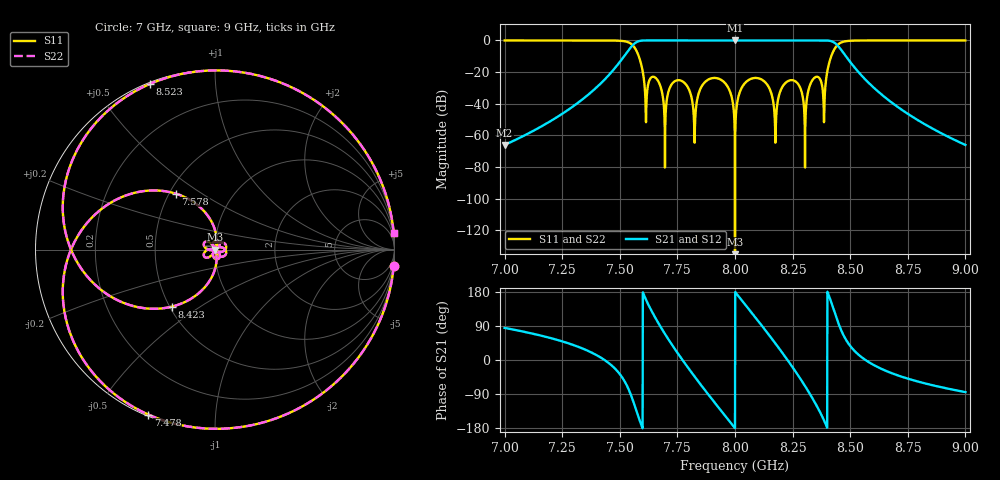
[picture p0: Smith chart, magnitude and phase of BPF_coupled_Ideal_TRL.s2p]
! Created Fri Apr  5 19:09:32 2024
# hz S db R 50
! 2 Port Network Data from SP1.SP block
! freq  dbS11  angS11  dbS21  angS21  dbS12  angS12  dbS22  angS22
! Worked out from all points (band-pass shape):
!   2001 points, 7 GHz to 9 GHz, reference 50 ohm
!   highest |S21| = 0.00 dB at 8 GHz (marker M1); lowest = -66.0 dB at 7 GHz (marker M2)
!   |S21| within 3 dB of the highest: 7.556 GHz to 8.444 GHz (888.1 MHz wide, 11.1 % of centre)
!   lowest |S11| = -189.4 dB at 8 GHz (marker M3), VSWR 1.00, Z = 50 - j3.57e-14 ohm
!   |S11| at or under -10 dB: 7.582 GHz to 8.418 GHz (835.4 MHz wide, 10.4 % of centre)
!   |S22| runs from -189.4 to 0.0 dB; largest |S21 - S12| = 1.2e-13
!   S11 on the Smith chart (normalised r, x): 7 GHz: 0, -22; 7.478 GHz: 0.01, -0.67; 7.578 GHz: 0.54, +0.39; 8.423 GHz: 0.52, -0.39; 8.523 GHz: 0.01, +0.68; 9 GHz: 0, +22
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7e9  -0.00 -5.3  -66.03 84.7  -66.03 84.7  -0.00 -5.3
7.334e9  -0.00 -58.6  -37.66 31.4  -37.66 31.4  -0.00 -58.6
7.478e9  -0.08 -112.1  -17.61 -22.1  -17.61 -22.1  -0.08 -112.1
7.578e9  -8.38 125.1  -0.68 -144.9  -0.68 -144.9  -8.38 125.1
7.614e9  -51.64 -111.2  -0.00 158.8  -0.00 158.8  -51.64 -111.2
7.667e9  -25.83 -172.2  -0.01 97.8  -0.01 97.8  -25.83 -172.2
7.696e9  -80.30 158.8  -0.00 68.8  -0.00 68.8  -80.30 158.8
7.784e9  -27.26 -100.0  -0.01 -10.0  -0.01 -10.0  -27.26 -100.0
7.825e9  -64.60 46.0  -0.00 -44.0  -0.00 -44.0  -64.60 46.0
7.887e9  -24.49 -3.3  -0.02 -93.3  -0.02 -93.3  -24.49 -3.3
7.962e9  -27.86 -61.0  -0.01 -151.0  -0.01 -151.0  -27.86 -61.0
8e9  -189.40 -0.0  -0.00 -180.0  -0.00 -180.0  -189.40 -0.0
8.113e9  -24.49 3.3  -0.02 93.3  -0.02 93.3  -24.49 3.3
8.175e9  -64.60 -46.0  -0.00 44.0  -0.00 44.0  -64.60 -46.0
8.216e9  -27.26 100.0  -0.01 10.0  -0.01 10.0  -27.26 100.0
8.304e9  -80.30 -158.8  -0.00 -68.8  -0.00 -68.8  -80.30 -158.8
8.334e9  -25.57 171.1  -0.01 -98.9  -0.01 -98.9  -25.57 171.1
8.386e9  -51.64 111.2  -0.00 -158.8  -0.00 -158.8  -51.64 111.2
8.423e9  -8.04 -126.9  -0.74 143.1  -0.74 143.1  -8.04 -126.9
8.523e9  -0.07 111.4  -17.79 21.4  -17.79 21.4  -0.07 111.4
8.667e9  -0.00 58.4  -37.77 -31.6  -37.77 -31.6  -0.00 58.4
9e9  -0.00 5.3  -66.03 -84.7  -66.03 -84.7  -0.00 5.3
